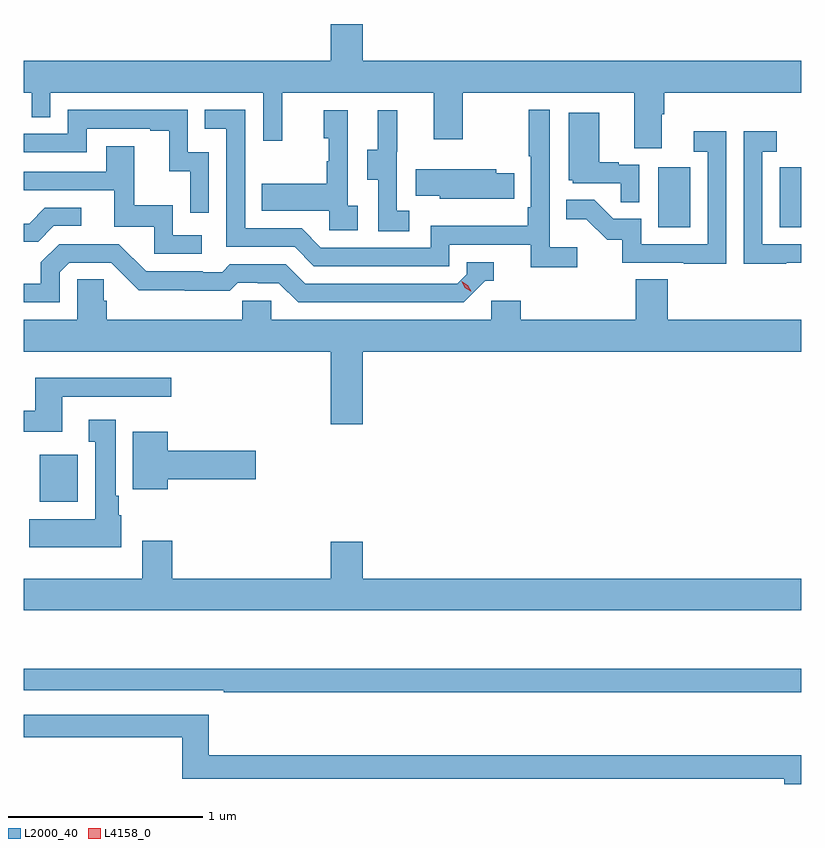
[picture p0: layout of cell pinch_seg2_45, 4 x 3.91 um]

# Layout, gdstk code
import gdstk
lib = gdstk.Library(unit=1e-6, precision=1e-09)
def R(c, l, rs):  # rectangles x0, y0, x1, y1
    for r in rs: c.add(gdstk.rectangle(r[:2], r[2:], *l))
def P(c, l, *ps):  # polygons
    for p in ps: c.add(gdstk.Polygon(p, *l))
L2000_40 = (2000, 40)
L4158_0 = (4158, 0)

pinch_seg2_45 = lib.new_cell('pinch_seg2_45')
R(pinch_seg2_45, L2000_40, [(1014.659,657.518,1014.856,657.76), (1017.842,658.932,1018.006,659.239), (1018.466,658.932,1018.577,659.239)])
P(pinch_seg2_45, L2000_40, [(1017.859,659.512),(1017.872,659.512),(1017.872,659.624),(1018.577,659.624),(1018.577,659.788),(1016.32,659.788),(1016.32,659.977),(1016.156,659.977),(1016.156,659.788),(1014.577,659.788),(1014.577,659.624),(1014.618,659.624),(1014.618,659.497),(1014.714,659.497),(1014.714,659.624),(1015.809,659.624),(1015.809,659.376),(1015.907,659.376),(1015.907,659.624),(1016.687,659.624),(1016.687,659.385),(1016.835,659.385),(1016.835,659.624),(1017.719,659.624),(1017.719,659.338),(1017.859,659.338)],
  [(1017.424,658.828),(1017.282,658.828),(1017.282,659.536),(1017.174,659.536),(1017.174,659.296),(1017.186,659.296),(1017.186,659.035),(1017.169,659.035),(1017.169,658.939),(1016.67,658.939),(1016.67,658.827),(1016.106,658.827),(1016.007,658.926),(1015.716,658.926),(1015.716,659.535),(1015.507,659.535),(1015.507,659.439),(1015.62,659.439),(1015.62,658.83),(1015.97,658.83),(1016.069,658.731),(1016.766,658.731),(1016.766,658.842),(1017.185,658.842),(1017.185,658.726),(1017.424,658.726)],
  [(1015.53,659.316),(1015.422,659.316),(1015.422,659.535),(1014.804,659.535),(1014.804,659.412),(1014.577,659.412),(1014.577,659.316),(1014.9,659.316),(1014.9,659.439),(1015.229,659.439),(1015.229,659.427),(1015.325,659.427),(1015.325,659.219),(1015.434,659.219),(1015.434,659.007),(1015.53,659.007)],
  [(1016.56,659.015),(1016.496,659.015),(1016.496,659.319),(1016.498,659.319),(1016.498,659.533),(1016.399,659.533),(1016.399,659.331),(1016.345,659.331),(1016.345,659.176),(1016.4,659.176),(1016.4,658.912),(1016.56,658.912)],
  [(1016.296,659.042),(1016.244,659.042),(1016.244,659.533),(1016.12,659.533),(1016.12,659.388),(1016.146,659.388),(1016.146,659.27),(1016.136,659.27),(1016.136,659.155),(1015.801,659.155),(1015.801,659.015),(1016.148,659.015),(1016.148,658.917),(1016.296,658.917)],
  [(1017.744,659.253),(1017.638,659.253),(1017.638,659.266),(1017.538,659.266),(1017.538,659.521),(1017.38,659.521),(1017.38,659.172),(1017.402,659.172),(1017.402,659.157),(1017.649,659.157),(1017.649,659.059),(1017.744,659.059)],
  [(1018.499,658.749),(1018.577,658.749),(1018.577,658.845),(1018.377,658.845),(1018.377,659.319),(1018.45,659.319),(1018.45,659.425),(1018.281,659.425),(1018.281,658.744),(1018.499,658.744)],
  [(1018.191,659.425),(1018.023,659.425),(1018.023,659.319),(1018.095,659.319),(1018.095,658.845),(1017.753,658.845),(1017.753,658.974),(1017.609,658.974),(1017.511,659.072),(1017.367,659.072),(1017.367,658.973),(1017.471,658.973),(1017.578,658.866),(1017.655,658.866),(1017.655,658.749),(1017.973,658.749),(1017.973,658.744),(1018.191,658.744)],
  [(1015.492,658.89),(1015.344,658.89),(1015.344,659.044),(1015.145,659.044),(1015.145,659.347),(1015.001,659.347),(1015.001,659.217),(1014.577,659.217),(1014.577,659.121),(1015.043,659.121),(1015.043,658.935),(1015.248,658.935),(1015.248,658.794),(1015.492,658.794)],
  [(1016.99,659.079),(1017.101,659.079),(1017.101,659.208),(1017.007,659.208),(1017.007,659.23),(1016.593,659.23),(1016.593,659.093),(1016.718,659.093),(1016.718,659.078),(1016.99,659.078)],
  [(1014.732,658.938),(1014.874,658.938),(1014.874,659.031),(1014.686,659.031),(1014.605,658.95),(1014.577,658.95),(1014.577,658.858),(1014.652,658.858)],
  [(1014.762,658.701),(1014.81,658.749),(1015.026,658.749),(1015.168,658.607),(1015.404,658.607),(1015.404,658.605),(1015.637,658.605),(1015.679,658.647),(1015.782,658.647),(1015.782,658.644),(1015.889,658.644),(1015.988,658.545),(1016.841,658.545),(1016.952,658.656),(1016.995,658.656),(1016.995,658.752),(1016.856,658.752),(1016.856,658.689),(1016.808,658.641),(1016.025,658.641),(1015.926,658.74),(1015.637,658.74),(1015.598,658.701),(1015.499,658.701),(1015.499,658.704),(1015.206,658.704),(1015.065,658.845),(1014.759,658.845),(1014.665,658.751),(1014.665,658.641),(1014.577,658.641),(1014.577,658.545),(1014.762,658.545)],
  [(1016.32,658.292),(1018.577,658.292),(1018.577,658.456),(1017.89,658.456),(1017.89,658.664),(1017.725,658.664),(1017.725,658.456),(1017.134,658.456),(1017.134,658.554),(1016.982,658.554),(1016.982,658.456),(1015.851,658.456),(1015.851,658.554),(1015.701,658.554),(1015.701,658.456),(1015.004,658.456),(1015.004,658.554),(1014.989,658.554),(1014.989,658.664),(1014.852,658.664),(1014.852,658.456),(1014.577,658.456),(1014.577,658.292),(1016.156,658.292),(1016.156,657.918),(1016.32,657.918)],
  [(1014.775,658.059),(1015.336,658.059),(1015.336,658.156),(1014.635,658.156),(1014.635,657.988),(1014.577,657.988),(1014.577,657.878),(1014.775,657.878)],
  [(1015.078,657.45),(1015.066,657.45),(1015.066,657.55),(1015.051,657.55),(1015.051,657.94),(1014.911,657.94),(1014.911,657.827),(1014.944,657.827),(1014.944,657.43),(1014.605,657.43),(1014.605,657.284),(1015.078,657.284)],
  [(1015.318,657.635),(1015.771,657.635),(1015.771,657.782),(1015.318,657.782),(1015.318,657.88),(1015.139,657.88),(1015.139,657.584),(1015.318,657.584)],
  [(1018.577,657.124),(1016.32,657.124),(1016.32,657.313),(1016.156,657.313),(1016.156,657.124),(1015.34,657.124),(1015.34,657.319),(1015.187,657.319),(1015.187,657.124),(1014.577,657.124),(1014.577,656.96),(1018.577,656.96)],
  [(1018.577,656.659),(1014.577,656.659),(1014.577,656.55),(1015.606,656.55),(1015.606,656.538),(1018.577,656.538)],
  [(1018.577,656.215),(1015.529,656.215),(1015.529,656.424),(1014.577,656.424),(1014.577,656.308),(1015.393,656.308),(1015.393,656.094),(1018.49,656.094),(1018.49,656.067),(1018.577,656.067)])
P(pinch_seg2_45, L4158_0, [(1016.877,658.601),(1016.847,658.621),(1016.831,658.654),(1016.831,658.654),(1016.831,658.654),(1016.862,658.634),(1016.878,658.602),(1016.878,658.601)])

lib.write_gds('pinch_seg2_45.gds')
